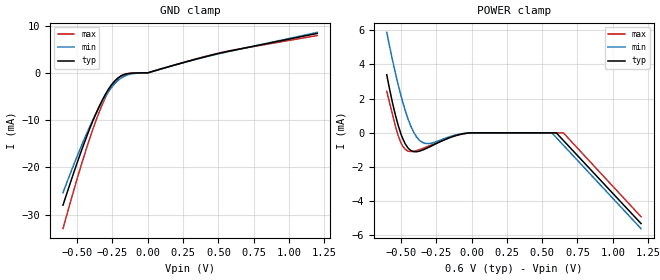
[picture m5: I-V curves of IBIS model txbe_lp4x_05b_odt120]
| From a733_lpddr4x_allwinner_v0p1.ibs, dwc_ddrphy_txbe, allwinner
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[Model] txbe_lp4x_05b_odt120
Model_type   Input
Polarity   Non-Inverting
Enable   Active-High
C_comp   940.859fF   933.508fF   954.339fF
C_comp_pullup   280.588fF   273.826fF   281.985fF
C_comp_pulldown 524.335fF   523.167fF   540.276fF
Vinh = 360.000mV
Vinl = 307.000mV
[Model Spec]
D_overshoot_ampl_h 0.1 NA   NA
D_overshoot_ampl_l 0.1 NA   NA
D_overshoot_area_l 300.000m NA   NA
D_overshoot_area_h 300.000m NA   NA
[Receiver Thresholds]
Vth = 163.000mV
Vth_min = 143.000mV
Vth_max = 150.000mV
Vinh_ac = 60.000mV
Vinh_dc = 60.000mV
Vinl_ac = -60.000mV
Vinl_dc = -60.000mV
Tslew_ac = 5.000ns
Threshold_sensitivity = 0.5
Reference_supply Power_clamp_ref
[Temperature Range]   25.000   125.000   -40.000
[Voltage Range]   600.000mV   570.000mV   650.000mV
[GND Clamp Reference]   0.00V   0.00V   0.00V
[C Comp Corner]
| variable   typ   min   max
C_comp 940.859fF   954.339fF   933.508fF
C_comp_pullup 280.588fF   281.985fF   273.826fF
C_comp_pulldown 524.335fF   540.276fF   523.167fF
[POWER Clamp Reference]   600.000mV   570.000mV   650.000mV
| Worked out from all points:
|   GND clamp passes 1 mA (typ) near -0.21 V on its own axis
|   POWER clamp passes 1 mA (typ) near -0.34 V on its own axis
[GND Clamp]
-600mV    -28mA      -25.36mA   -32.96mA
-480mV    -17.36mA   -16.19mA   -20.43mA
-370mV    -8.854mA   -8.811mA   -10.38mA
-320mV    -5.656mA   -5.978mA   -6.576mA
-280mV    -3.542mA   -4.05mA    -4.049mA
-240mV    -1.923mA   -2.49mA    -2.11mA
-210mV    -1.074mA   -1.595mA   -1.106mA
-170mV    -410.2uA   -775.3uA   -360.9uA
-130mV    -132.2uA   -322.7uA   -94.04uA
0V        0A         0A         0A
550mV     4.427mA    4.359mA    4.491mA
1.2V      8.34mA     8.555mA    7.889mA
[Power Clamp]
-600mV    3.4mA      5.879mA    2.441mA
-540mV    1.082mA    3.547mA    428.6uA
-490mV    -274.8uA   1.895mA    -738.4uA
-430mV    -1.034mA   402.2uA    -1.095mA
-390mV    -1.107mA   -225.4uA   -1.043mA
-360mV    -1.049mA   -494.6uA   -959.6uA
-300mV    -836uA     -627uA     -766uA
-40mV     -29.8uA    -21.4uA    -33.4uA
570mV     -1.221uA   -11.33uA   -263.5nA
600mV     -1.294uA   -277.9uA   -279.7nA
650mV     -443.8uA   -722.1uA   -306.8nA
1.2V      -5.311mA   -5.609mA   -4.911mA
